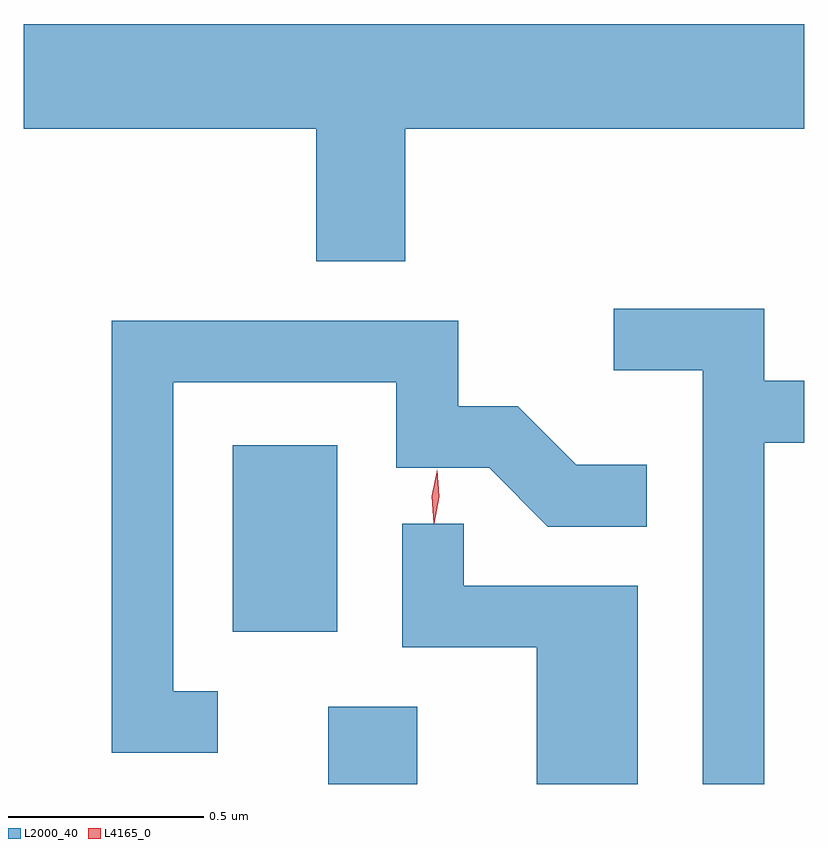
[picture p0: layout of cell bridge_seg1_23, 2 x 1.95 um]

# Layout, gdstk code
import gdstk
lib = gdstk.Library(unit=1e-6, precision=1e-09)
def R(c, l, rs):  # rectangles x0, y0, x1, y1
    for r in rs: c.add(gdstk.rectangle(r[:2], r[2:], *l))
def P(c, l, *ps):  # polygons
    for p in ps: c.add(gdstk.Polygon(p, *l))
L2000_40 = (2000, 40)
L4165_0 = (4165, 0)

bridge_seg1_23 = lib.new_cell('bridge_seg1_23')
R(bridge_seg1_23, L2000_40, [(1506.771,966.716,1506.999,966.914), (1506.526,967.106,1506.794,967.584)])
P(bridge_seg1_23, L2000_40, [(1505.991,968.396),(1506.741,968.396),(1506.741,968.056),(1506.969,968.056),(1506.969,968.396),(1507.991,968.396),(1507.991,968.664),(1505.991,968.664)],
  [(1507.889,967.591),(1507.991,967.591),(1507.991,967.749),(1507.889,967.749),(1507.889,967.934),(1507.503,967.934),(1507.503,967.776),(1507.731,967.776),(1507.731,966.716),(1507.889,966.716)],
  [(1506.488,966.954),(1506.374,966.954),(1506.374,967.746),(1506.946,967.746),(1506.946,967.526),(1507.184,967.526),(1507.334,967.376),(1507.588,967.376),(1507.588,967.534),(1507.407,967.534),(1507.257,967.684),(1507.104,967.684),(1507.104,967.904),(1506.216,967.904),(1506.216,966.796),(1506.488,966.796)],
  [(1507.564,967.224),(1507.119,967.224),(1507.119,967.383),(1506.961,967.383),(1506.961,967.066),(1507.306,967.066),(1507.306,966.716),(1507.564,966.716)])
P(bridge_seg1_23, L4165_0, [(1507.042,967.383),(1507.042,967.383),(1507.036,967.453),(1507.05,967.522),(1507.05,967.522),(1507.05,967.522),(1507.056,967.452),(1507.043,967.383)])

lib.write_gds('bridge_seg1_23.gds')
